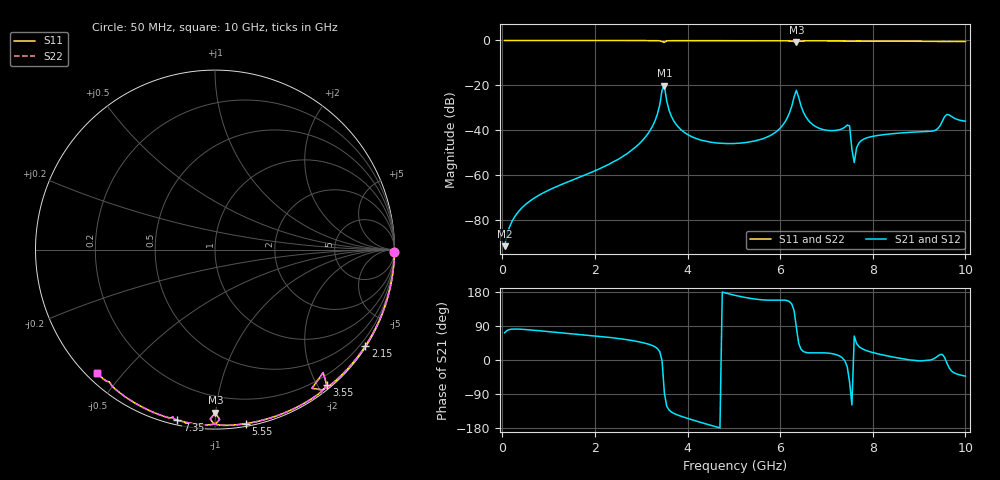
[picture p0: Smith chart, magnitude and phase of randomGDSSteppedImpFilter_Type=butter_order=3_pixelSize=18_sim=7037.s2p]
! freq	dB(S11)	phase(S11)	dB(S12)	phase(S12)
!  dB(S21)	phase(S21)	dB(S22)	phase(S22)
!S-par simulation data
#  GHz  S  DB  R 50
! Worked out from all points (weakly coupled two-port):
!   200 points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, 50 MHz to 10 GHz, reference 50 ohm
!   highest |S21| = -20.18 dB at 3.5 GHz (marker M1); lowest = -91.8 dB at 50 MHz (marker M2)
!   lowest |S11| = -0.8 dB at 6.35 GHz (marker M3), VSWR 20.74, Z = 4.82 - j49.9 ohm
!   |S11| at or under -10 dB: nowhere
!   |S22| runs from -0.8 to 0.0 dB; largest |S21 - S12| = 0
!   S11 on the Smith chart (normalised r, x): 50 MHz: open; 2.15 GHz: 0.03, -3.41; 3.55 GHz: 0.07, -2.12; 5.55 GHz: 0.02, -1.19; 7.35 GHz: 0.02, -0.80; 10 GHz: 0.03, -0.43
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0.05  -0.00 -0.8  -91.79 71.9  -91.79 71.9  -0.00 -0.8
1.75  -0.03 -26.7  -60.31 66.4  -60.31 66.4  -0.03 -26.7
2.15  -0.04 -32.7  -56.74 61.8  -56.74 61.8  -0.04 -32.7
3  -0.06 -45.3  -45.21 46.7  -45.21 46.7  -0.06 -45.3
3.4  -0.16 -52.8  -28.74 22.1  -28.74 22.1  -0.16 -52.8
3.5  -0.79 -48.7  -20.18 -87.0  -20.18 -87.0  -0.79 -48.6
3.55  -0.21 -50.4  -26.96 -121.8  -26.96 -121.8  -0.21 -50.4
3.7  -0.09 -54.1  -35.81 -140.6  -35.81 -140.6  -0.09 -54.1
3.95  -0.09 -58.0  -41.30 -152.1  -41.30 -152.1  -0.09 -58.0
5.05  -0.11 -73.3  -45.92 170.0  -45.92 170.0  -0.11 -73.3
5.55  -0.13 -80.0  -44.32 159.5  -44.32 159.5  -0.13 -80.0
6.05  -0.17 -86.9  -37.97 158.2  -37.97 158.2  -0.17 -86.9
6.35  -0.84 -89.8  -22.25 86.3  -22.25 86.3  -0.84 -89.8
6.7  -0.19 -93.9  -37.48 18.9  -37.48 18.9  -0.19 -93.9
7.35  -0.23 -102.5  -39.30 4.9  -39.30 4.9  -0.23 -102.4
7.5  -0.35 -104.2  -38.15 -58.8  -38.15 -58.8  -0.35 -104.2
7.6  -0.26 -105.0  -54.49 63.3  -54.49 63.3  -0.26 -105.0
7.75  -0.25 -107.0  -44.73 31.3  -44.73 31.3  -0.25 -107.0
8.35  -0.29 -114.4  -41.76 9.9  -41.76 9.9  -0.29 -114.4
9.35  -0.42 -126.5  -40.06 5.7  -40.06 5.7  -0.42 -126.5
9.6  -0.49 -128.8  -33.00 -8.0  -33.00 -8.0  -0.49 -128.8
10  -0.44 -133.9  -36.01 -42.5  -36.01 -42.5  -0.44 -133.9
